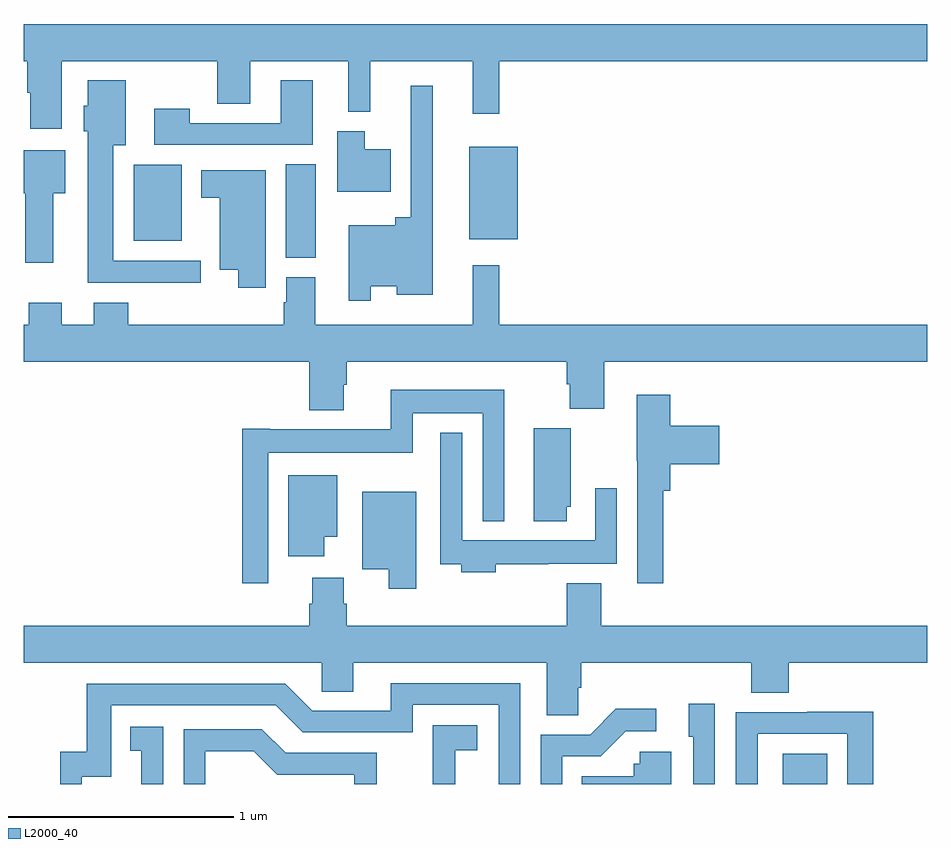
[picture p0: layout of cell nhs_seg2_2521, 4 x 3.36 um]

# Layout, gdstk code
import gdstk
lib = gdstk.Library(unit=1e-6, precision=1e-09)
def R(c, l, rs):  # rectangles x0, y0, x1, y1
    for r in rs: c.add(gdstk.rectangle(r[:2], r[2:], *l))
def P(c, l, *ps):  # polygons
    for p in ps: c.add(gdstk.Polygon(p, *l))
L2000_40 = (2000, 40)

nhs_seg2_2521 = lib.new_cell('nhs_seg2_2521')
R(nhs_seg2_2521, L2000_40, [(246.359,613.8,246.556,613.933), (244.16,616.129,244.294,616.544), (243.488,616.205,243.7,616.54), (244.973,616.211,245.188,616.621)])
P(nhs_seg2_2521, L2000_40, [(243.169,617),(243.856,617),(243.856,616.81),(244.003,616.81),(244.003,617),(244.436,617),(244.436,616.775),(244.535,616.775),(244.535,617),(244.988,617),(244.988,616.767),(245.105,616.767),(245.105,617),(247,617),(247,617.164),(243,617.164),(243,617),(243.017,617),(243.017,616.859),(243.029,616.859),(243.029,616.701),(243.169,616.701)],
  [(244.279,616.915),(244.139,616.915),(244.139,616.725),(243.735,616.725),(243.735,616.789),(243.579,616.789),(243.579,616.629),(244.279,616.629)],
  [(243.784,616.116),(243.397,616.116),(243.397,616.628),(243.451,616.628),(243.451,616.915),(243.284,616.915),(243.284,616.803),(243.266,616.803),(243.266,616.689),(243.284,616.689),(243.284,616.019),(243.784,616.019)],
  [(244.536,616.004),(244.652,616.004),(244.652,615.965),(244.81,615.965),(244.81,616.891),(244.713,616.891),(244.713,616.309),(244.645,616.309),(244.645,616.273),(244.44,616.273),(244.44,615.939),(244.536,615.939)],
  [(244.624,616.609),(244.51,616.609),(244.51,616.69),(244.388,616.69),(244.388,616.421),(244.624,616.421)],
  [(243.13,616.415),(243.184,616.415),(243.184,616.606),(243,616.606),(243,616.415),(243.008,616.415),(243.008,616.107),(243.13,616.107)],
  [(244.072,616.516),(243.785,616.516),(243.785,616.394),(243.869,616.394),(243.869,616.076),(243.95,616.076),(243.95,615.996),(244.072,615.996)],
  [(244.417,615.567),(244.43,615.567),(244.43,615.668),(245.405,615.668),(245.405,615.569),(245.417,615.569),(245.417,615.46),(245.57,615.46),(245.57,615.668),(247,615.668),(247,615.832),(245.105,615.832),(245.105,616.096),(244.988,616.096),(244.988,615.832),(244.291,615.832),(244.291,616.044),(244.163,616.044),(244.163,615.933),(244.151,615.933),(244.151,615.832),(243.464,615.832),(243.464,615.931),(243.311,615.931),(243.311,615.832),(243.169,615.832),(243.169,615.931),(243.022,615.931),(243.022,615.832),(243,615.832),(243,615.668),(244.265,615.668),(244.265,615.455),(244.417,615.455)],
  [(244.083,615.266),(244.722,615.266),(244.722,615.44),(245.031,615.44),(245.031,614.963),(245.128,614.963),(245.128,615.544),(244.625,615.544),(244.625,615.37),(244.09,615.37),(244.09,615.373),(243.967,615.373),(243.967,614.688),(244.083,614.688)],
  [(245.831,615.098),(245.861,615.098),(245.861,615.215),(246.079,615.215),(246.079,615.385),(245.861,615.385),(245.861,615.523),(245.714,615.523),(245.714,615.231),(245.715,615.231),(245.715,614.688),(245.831,614.688)],
  [(245.404,615.027),(245.422,615.027),(245.422,615.375),(245.258,615.375),(245.258,614.964),(245.404,614.964)],
  [(245.09,614.772),(245.321,614.772),(245.321,614.774),(245.625,614.774),(245.625,615.109),(245.529,615.109),(245.529,614.878),(244.941,614.878),(244.941,615.355),(244.845,615.355),(244.845,614.772),(244.937,614.772),(244.937,614.738),(245.09,614.738)],
  [(244.33,614.894),(244.387,614.894),(244.387,615.166),(244.172,615.166),(244.172,614.808),(244.33,614.808)],
  [(244.738,615.094),(244.499,615.094),(244.499,614.75),(244.616,614.75),(244.616,614.664),(244.738,614.664)],
  [(245.454,614.227),(245.468,614.227),(245.468,614.336),(246.221,614.336),(246.221,614.203),(246.386,614.203),(246.386,614.336),(247,614.336),(247,614.5),(245.557,614.5),(245.557,614.689),(245.405,614.689),(245.405,614.5),(244.43,614.5),(244.43,614.598),(244.417,614.598),(244.417,614.713),(244.277,614.713),(244.277,614.598),(244.265,614.598),(244.265,614.5),(243,614.5),(243,614.336),(244.32,614.336),(244.32,614.209),(244.459,614.209),(244.459,614.336),(245.315,614.336),(245.315,614.104),(245.454,614.104)],
  [(243.258,613.833),(243.387,613.833),(243.387,614.148),(244.116,614.148),(244.236,614.028),(244.722,614.028),(244.722,614.151),(245.103,614.151),(245.103,613.8),(245.199,613.8),(245.199,614.247),(244.625,614.247),(244.625,614.124),(244.278,614.124),(244.158,614.244),(243.279,614.244),(243.279,613.942),(243.161,613.942),(243.161,613.8),(243.258,613.8)],
  [(246.06,614.155),(245.945,614.155),(245.945,614.01),(245.964,614.01),(245.964,613.8),(246.06,613.8)],
  [(245.385,613.923),(245.554,613.923),(245.665,614.034),(245.8,614.034),(245.8,614.132),(245.621,614.132),(245.508,614.019),(245.289,614.019),(245.289,613.8),(245.385,613.8)],
  [(246.249,614.022),(246.645,614.022),(246.645,613.8),(246.761,613.8),(246.761,614.12),(246.469,614.12),(246.469,614.118),(246.153,614.118),(246.153,613.8),(246.249,613.8)],
  [(244.91,613.949),(245.008,613.949),(245.008,614.059),(244.81,614.059),(244.81,613.853),(244.811,613.853),(244.811,613.8),(244.91,613.8)],
  [(243.618,614.053),(243.472,614.053),(243.472,613.947),(243.521,613.947),(243.521,613.8),(243.618,613.8)],
  [(243.804,613.946),(244.018,613.946),(244.122,613.842),(244.464,613.842),(244.464,613.8),(244.563,613.8),(244.563,613.938),(244.159,613.938),(244.054,614.043),(243.708,614.043),(243.708,613.8),(243.804,613.8)],
  [(245.866,613.942),(245.727,613.942),(245.727,613.89),(245.701,613.89),(245.701,613.834),(245.47,613.834),(245.47,613.8),(245.866,613.8)])

lib.write_gds('nhs_seg2_2521.gds')
